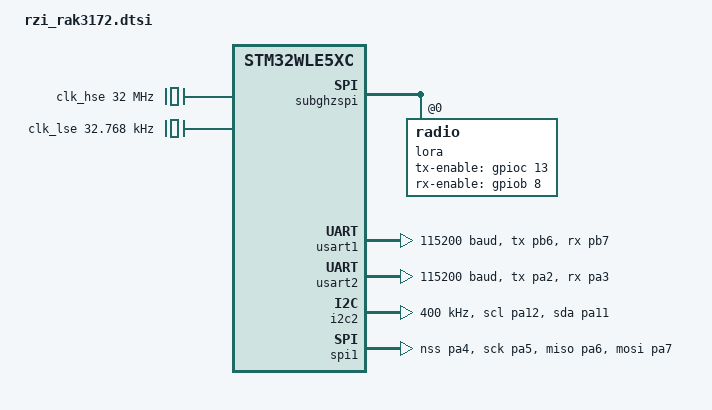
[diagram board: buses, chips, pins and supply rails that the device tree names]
/* SPDX-FileCopyrightText: Copyright (c) 2026 RAKwireless */
/* SPDX-License-Identifier: Apache-2.0 */
/*
 * RAK3172 WisDuo module: STM32WLE5, the 32 MHz TCXO and 32.768 kHz crystal,
 * the clock tree, the on-chip sub-GHz radio with its RF switch, and the
 * pinmux of the module pads. The pad peripherals (USART, I2C, SPI), the low
 * power timer, and the RTC are configured but left disabled; the carrier
 * board enables the ones it uses and adds LEDs, the console choice, and the
 * flash map.
 */

#include <st/wl/stm32wle5Xc.dtsi>
#include <st/wl/stm32wle5ccux-pinctrl.dtsi>

&clk_hse {
	status = "okay";
	clock-frequency = <DT_FREQ_M(32)>;
};

&clk_lse {
	status = "okay";
	clock-frequency = <32768>;
};

&pll {
	div-m = <1>;
	mul-n = <6>;
	div-r = <4>;
	div-q = <4>;
	clocks = <&clk_hse>;
	status = "okay";
};

&rcc {
	clocks = <&pll>;
	clock-frequency = <DT_FREQ_M(48)>;
	cpu1-prescaler = <1>;
	ahb3-prescaler = <1>;
	apb1-prescaler = <1>;
	apb2-prescaler = <1>;
};

&subghzspi {
	status = "okay";

	lora: radio@0 {
		status = "okay";
		tx-enable-gpios = <&gpioc 13 GPIO_ACTIVE_HIGH>; /* FE_CTRL1 */
		rx-enable-gpios = <&gpiob 8 GPIO_ACTIVE_HIGH>;  /* FE_CTRL2 */
		power-amplifier-output = "rfo-hp";
		rfo-hp-max-power = <22>;
	};
};

&lptim1 {
	clocks = <&rcc STM32_CLOCK(APB1, 31)>,
		 <&rcc STM32_SRC_LSE LPTIM1_SEL(3)>;
};

&rtc {
	clocks = <&rcc STM32_CLOCK(APB1, 10)>,
		 <&rcc STM32_SRC_LSE RTC_SEL(1)>;
};

&usart1 {
	pinctrl-0 = <&usart1_tx_pb6 &usart1_rx_pb7>;
	pinctrl-names = "default";
	current-speed = <115200>;
};

&usart2 {
	pinctrl-0 = <&usart2_tx_pa2 &usart2_rx_pa3>;
	pinctrl-names = "default";
	current-speed = <115200>;
};

&i2c2 {
	pinctrl-0 = <&i2c2_scl_pa12 &i2c2_sda_pa11>;
	pinctrl-names = "default";
	scl-gpios = <&gpioa 12 GPIO_ACTIVE_HIGH>;
	sda-gpios = <&gpioa 11 GPIO_ACTIVE_HIGH>;
	clock-frequency = <I2C_BITRATE_FAST>;
};

&spi1 {
	pinctrl-0 = <&spi1_nss_pa4 &spi1_sck_pa5
		     &spi1_miso_pa6 &spi1_mosi_pa7>;
	pinctrl-names = "default";
};
